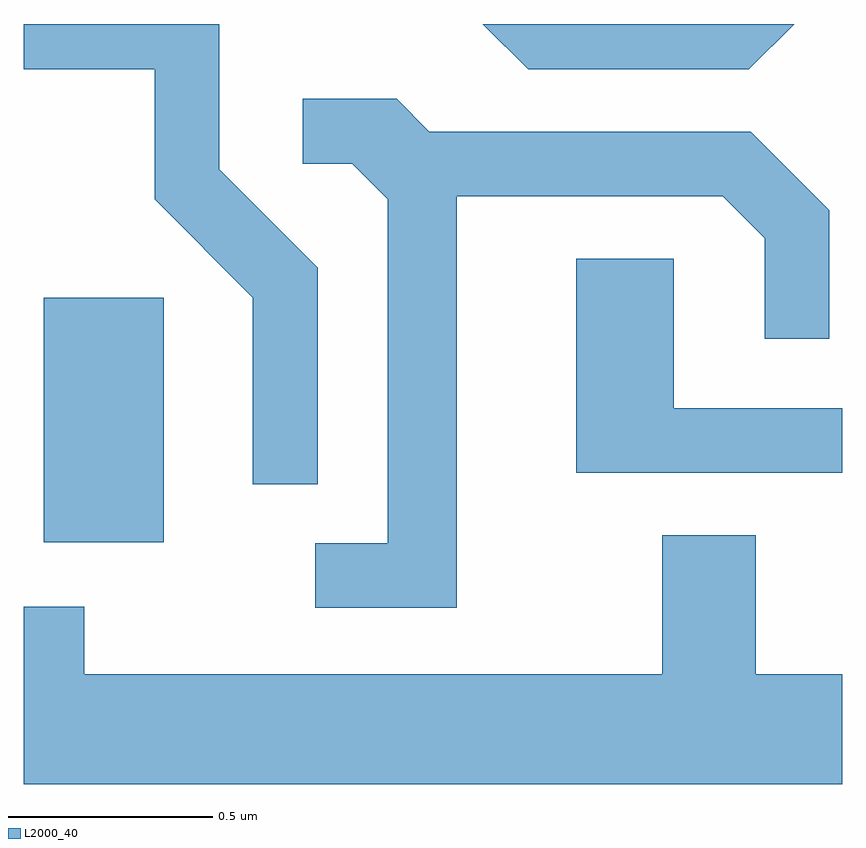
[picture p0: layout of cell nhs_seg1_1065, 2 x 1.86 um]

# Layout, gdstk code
import gdstk
lib = gdstk.Library(unit=1e-6, precision=1e-09)
def R(c, l, rs):  # rectangles x0, y0, x1, y1
    for r in rs: c.add(gdstk.rectangle(r[:2], r[2:], *l))
def P(c, l, *ps):  # polygons
    for p in ps: c.add(gdstk.Polygon(p, *l))
L2000_40 = (2000, 40)

nhs_seg1_1065 = lib.new_cell('nhs_seg1_1065')
R(nhs_seg1_1065, L2000_40, [(192.661,953.446,192.954,954.044)])
P(nhs_seg1_1065, L2000_40, [(193.329,954.117),(193.089,954.357),(193.089,954.712),(192.611,954.712),(192.611,954.601),(192.931,954.601),(192.931,954.284),(193.171,954.044),(193.171,953.588),(193.329,953.588)],
  [(194.493,954.712),(193.733,954.712),(193.844,954.601),(194.382,954.601)],
  [(193.669,954.291),(194.319,954.291),(194.421,954.189),(194.421,953.943),(194.579,953.943),(194.579,954.257),(194.387,954.449),(193.602,954.449),(193.522,954.529),(193.293,954.529),(193.293,954.371),(193.414,954.371),(193.501,954.284),(193.501,953.444),(193.323,953.444),(193.323,953.286),(193.669,953.286)],
  [(194.611,953.774),(194.199,953.774),(194.199,954.139),(193.961,954.139),(193.961,953.616),(194.611,953.616)],
  [(194.611,953.124),(194.399,953.124),(194.399,953.464),(194.171,953.464),(194.171,953.124),(192.759,953.124),(192.759,953.289),(192.611,953.289),(192.611,952.856),(194.611,952.856)])

lib.write_gds('nhs_seg1_1065.gds')
